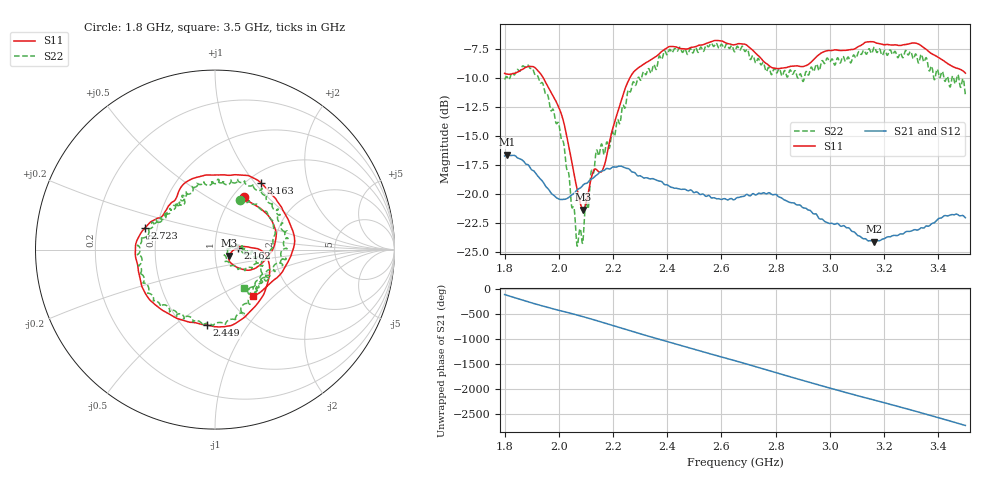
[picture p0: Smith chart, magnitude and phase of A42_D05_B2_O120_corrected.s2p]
! Created with skrf 1.9.0 (http://scikit-rf.org).
# Hz S RI R 50.0
!freq ReS11 ImS11 ReS21 ImS21 ReS12 ImS12 ReS22 ImS22
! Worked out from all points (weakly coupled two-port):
!   1601 points, 1.8 GHz to 3.5 GHz, reference 50 ohm
!   highest |S21| = -16.62 dB at 1.811 GHz (marker M1); lowest = -24.1 dB at 3.162 GHz (marker M2)
!   lowest |S11| = -21.3 dB at 2.09 GHz (marker M3), VSWR 1.19, Z = 58.4 - j3.95 ohm
!   |S11| at or under -10 dB: 1.943 GHz to 2.262 GHz (318.5 MHz wide, 15.1 % of centre)
!   |S22| runs from -24.5 to -7.0 dB; largest |S21 - S12| = 0.0023
!   S11 on the Smith chart (normalised r, x): 1.8 GHz: 1.13, +0.73; 2.162 GHz: 1.29, +0.03; 2.449 GHz: 0.65, -0.66; 2.723 GHz: 0.43, +0.13; 3.163 GHz: 1.14, +1.08; 3.5 GHz: 1.29, -0.75
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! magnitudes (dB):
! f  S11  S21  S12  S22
! 1.8 GHz  -9.6  -16.7  -16.7  -10.1
! 1.811 GHz  -9.7  -16.6  -16.6  -9.9
! 1.885 GHz  -9.0  -17.5  -17.5  -8.9
! 1.941 GHz  -9.9  -18.9  -18.9  -10.5
! 2.013 GHz  -13.3  -20.5  -20.4  -15.4
! 2.066 GHz  -19.4  -19.7  -19.7  -24.2
! 2.084 GHz  -21.1  -19.4  -19.3  -23.7
! 2.09 GHz  -21.3  -19.2  -19.2  -23.8
! 2.135 GHz  -17.8  -18.4  -18.4  -16.9
! 2.162 GHz  -17.9  -18.0  -17.9  -16.1
! 2.258 GHz  -10.2  -17.8  -17.8  -11.0
! 2.367 GHz  -8.0  -18.9  -18.8  -8.4
! 2.449 GHz  -7.5  -19.6  -19.6  -7.4
! 2.65 GHz  -7.1  -20.4  -20.4  -7.7
! 2.723 GHz  -7.8  -20.1  -20.0  -8.6
! 2.798 GHz  -9.1  -20.0  -20.0  -9.2
! 2.934 GHz  -8.6  -21.6  -21.5  -9.1
! 3.162 GHz  -6.9  -24.1  -24.0  -7.4
! 3.163 GHz  -6.9  -24.1  -24.0  -7.3
! 3.217 GHz  -7.1  -23.7  -23.6  -7.8
! 3.324 GHz  -7.0  -23.1  -23.0  -8.5
! 3.5 GHz  -9.6  -22.0  -22.0  -11.5
